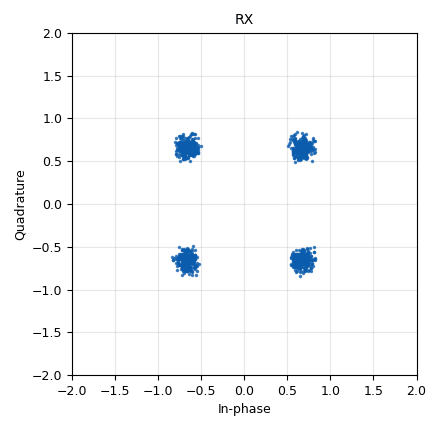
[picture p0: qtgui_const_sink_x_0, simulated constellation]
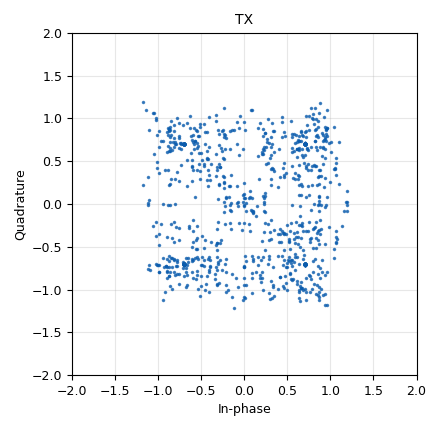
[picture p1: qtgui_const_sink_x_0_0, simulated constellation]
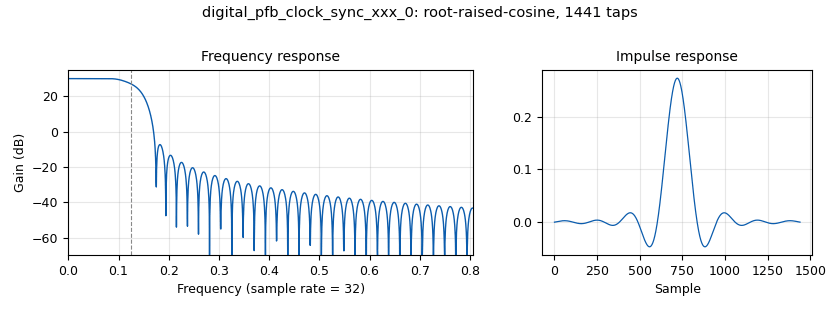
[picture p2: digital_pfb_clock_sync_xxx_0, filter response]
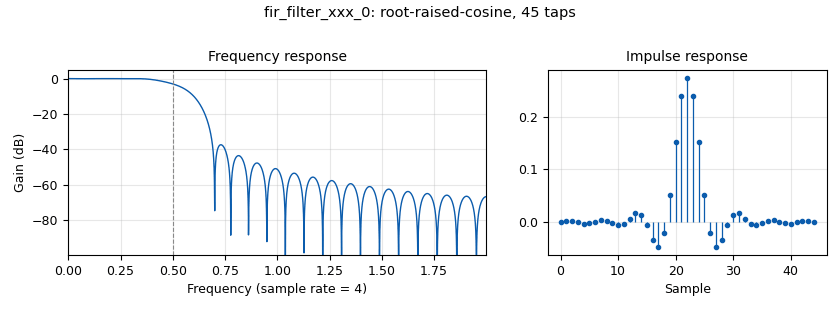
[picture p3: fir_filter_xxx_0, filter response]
<?xml version='1.0' encoding='utf-8'?>
<?grc format='1' created='3.7.11'?>
<flow_graph>
<block>
<key>options</key>
<param><key>id</key><value>packet_coder_test</value></param>
<param><key>generate_options</key><value>qt_gui</value></param>
</block>
<block>
<key>variable_constellation</key>
<param><key>id</key><value>BPSK</value></param>
<param><key>const_points</key><value>[-1, 1]</value></param>
<param><key>type</key><value>qpsk</value></param>
<param><key>precision</key><value>8</value></param>
<param><key>sym_map</key><value>[0, 1]</value></param>
</block>
<block>
<key>variable_constellation</key>
<param><key>id</key><value>BPSK</value></param>
<param><key>const_points</key><value>[-1, 1]</value></param>
<param><key>type</key><value>bpsk</value></param>
<param><key>_enabled</key><value>0</value></param>
<param><key>precision</key><value>8</value></param>
<param><key>sym_map</key><value>[0, 1]</value></param>
</block>
<block>
<key>variable_qtgui_range</key>
<param><key>id</key><value>delay</value></param>
<param><key>value</key><value>0</value></param>
<param><key>gui_hint</key><value>0,1,1,1</value></param>
<param><key>orient</key><value>Qt.Horizontal</value></param>
<param><key>start</key><value>0</value></param>
<param><key>step</key><value>1</value></param>
<param><key>stop</key><value>200</value></param>
</block>
<block>
<key>variable</key>
<param><key>id</key><value>excess_bw</value></param>
<param><key>value</key><value>0.35</value></param>
</block>
<block>
<key>variable</key>
<param><key>id</key><value>nfilts</value></param>
<param><key>value</key><value>32</value></param>
</block>
<block>
<key>variable</key>
<param><key>id</key><value>phase_bw</value></param>
<param><key>value</key><value>0.0628</value></param>
</block>
<block>
<key>variable</key>
<param><key>id</key><value>rrc_taps</value></param>
<param><key>value</key><value>firdes.root_raised_cosine(nfilts, nfilts, 1.0/float(sps), 0.35, 45*nfilts)</value></param>
</block>
<block>
<key>variable</key>
<param><key>id</key><value>rrc_taps_0</value></param>
<param><key>value</key><value>firdes.root_raised_cosine(1, sps, 1, excess_bw, 45)</value></param>
</block>
<block>
<key>variable</key>
<param><key>id</key><value>samp_rate</value></param>
<param><key>value</key><value>32000</value></param>
</block>
<block>
<key>variable</key>
<param><key>id</key><value>samp_rate_0</value></param>
<param><key>value</key><value>32E3</value></param>
</block>
<block>
<key>variable</key>
<param><key>id</key><value>sps</value></param>
<param><key>value</key><value>4</value></param>
</block>
<block>
<key>variable_qtgui_range</key>
<param><key>id</key><value>timing_loop_bw</value></param>
<param><key>value</key><value>6.28/100.0</value></param>
<param><key>gui_hint</key><value>0,0,1,1</value></param>
<param><key>label</key><value>Time: BW</value></param>
<param><key>orient</key><value>Qt.Horizontal</value></param>
<param><key>start</key><value>0.0</value></param>
<param><key>step</key><value>0.01</value></param>
<param><key>stop</key><value>0.2</value></param>
<param><key>widget</key><value>slider</value></param>
</block>
<block>
<key>analog_random_source_x</key>
<param><key>id</key><value>analog_random_source_x_0</value></param>
<param><key>max</key><value>256</value></param>
<param><key>min</key><value>0</value></param>
<param><key>num_samps</key><value>1000</value></param>
<param><key>type</key><value>byte</value></param>
<param><key>repeat</key><value>True</value></param>
</block>
<block>
<key>blks2_packet_decoder</key>
<param><key>id</key><value>blks2_packet_decoder_0</value></param>
<param><key>access_code</key><value></value></param>
<param><key>_enabled</key><value>0</value></param>
<param><key>type</key><value>byte</value></param>
<param><key>threshold</key><value>-1</value></param>
</block>
<block>
<key>blks2_packet_encoder</key>
<param><key>id</key><value>blks2_packet_encoder_0</value></param>
<param><key>access_code</key><value></value></param>
<param><key>bits_per_symbol</key><value>2</value></param>
<param><key>_enabled</key><value>0</value></param>
<param><key>type</key><value>byte</value></param>
<param><key>pad_for_usrp</key><value>False</value></param>
<param><key>payload_length</key><value>4</value></param>
<param><key>preamble</key><value></value></param>
<param><key>samples_per_symbol</key><value>1</value></param>
</block>
<block>
<key>blocks_char_to_float</key>
<param><key>id</key><value>blocks_char_to_float_0_0</value></param>
<param><key>scale</key><value>1</value></param>
</block>
<block>
<key>blocks_char_to_float</key>
<param><key>id</key><value>blocks_char_to_float_0_0_0</value></param>
<param><key>scale</key><value>1</value></param>
</block>
<block>
<key>blocks_delay</key>
<param><key>id</key><value>blocks_delay_0</value></param>
<param><key>delay</key><value>int(delay)</value></param>
<param><key>type</key><value>float</value></param>
</block>
<block>
<key>blocks_packed_to_unpacked_xx</key>
<param><key>id</key><value>blocks_packed_to_unpacked_xx_0</value></param>
<param><key>bits_per_chunk</key><value>1</value></param>
<param><key>_enabled</key><value>0</value></param>
<param><key>endianness</key><value>gr.GR_MSB_FIRST</value></param>
<param><key>type</key><value>byte</value></param>
</block>
<block>
<key>blocks_sub_xx</key>
<param><key>id</key><value>blocks_sub_xx_0</value></param>
<param><key>type</key><value>float</value></param>
</block>
<block>
<key>blocks_throttle</key>
<param><key>id</key><value>blocks_throttle_1</value></param>
<param><key>samples_per_second</key><value>samp_rate</value></param>
<param><key>type</key><value>complex</value></param>
</block>
<block>
<key>blocks_unpack_k_bits_bb</key>
<param><key>id</key><value>blocks_unpack_k_bits_bb_0</value></param>
<param><key>k</key><value>2</value></param>
</block>
<block>
<key>blocks_unpack_k_bits_bb</key>
<param><key>id</key><value>blocks_unpack_k_bits_bb_0_0</value></param>
<param><key>k</key><value>8</value></param>
</block>
<block>
<key>digital_constellation_modulator</key>
<param><key>id</key><value>digital_constellation_modulator_0</value></param>
<param><key>constellation</key><value>BPSK</value></param>
<param><key>differential</key><value>True</value></param>
<param><key>excess_bw</key><value>0.35</value></param>
<param><key>samples_per_symbol</key><value>sps</value></param>
</block>
<block>
<key>digital_diff_decoder_bb</key>
<param><key>id</key><value>digital_diff_decoder_bb_0</value></param>
<param><key>modulus</key><value>4</value></param>
</block>
<block>
<key>digital_map_bb</key>
<param><key>id</key><value>digital_map_bb_0</value></param>
<param><key>map</key><value>[0,3,2,1]</value></param>
</block>
<block>
<key>digital_pfb_clock_sync_xxx</key>
<param><key>id</key><value>digital_pfb_clock_sync_xxx_0</value></param>
<param><key>filter_size</key><value>nfilts</value></param>
<param><key>init_phase</key><value>nfilts/2</value></param>
<param><key>loop_bw</key><value>timing_loop_bw</value></param>
<param><key>max_dev</key><value>1.5</value></param>
<param><key>osps</key><value>1</value></param>
<param><key>sps</key><value>sps</value></param>
<param><key>taps</key><value>rrc_taps</value></param>
<param><key>type</key><value>ccf</value></param>
</block>
<block>
<key>fir_filter_xxx</key>
<param><key>id</key><value>fir_filter_xxx_0</value></param>
<param><key>decim</key><value>1</value></param>
<param><key>taps</key><value>rrc_taps_0</value></param>
<param><key>type</key><value>ccc</value></param>
</block>
<block>
<key>myblocks_qpsk_demod_v2</key>
<param><key>id</key><value>myblocks_qpsk_demod_v2_0</value></param>
<param><key>gray_code</key><value>0</value></param>
</block>
<block>
<key>qtgui_const_sink_x</key>
<param><key>id</key><value>qtgui_const_sink_x_0</value></param>
<param><key>gui_hint</key><value>1,1,1,1</value></param>
<param><key>name</key><value>"RX"</value></param>
<param><key>size</key><value>1024</value></param>
<param><key>type</key><value>complex</value></param>
</block>
<block>
<key>qtgui_const_sink_x</key>
<param><key>id</key><value>qtgui_const_sink_x_0_0</value></param>
<param><key>gui_hint</key><value>1,0,1,1</value></param>
<param><key>name</key><value>"TX"</value></param>
<param><key>size</key><value>1024</value></param>
<param><key>type</key><value>complex</value></param>
</block>
<block>
<key>qtgui_time_sink_x</key>
<param><key>id</key><value>qtgui_time_sink_x_0</value></param>
<param><key>gui_hint</key><value>2,0,1,2</value></param>
<param><key>color1</key><value>"blue"</value></param>
<param><key>label1</key><value></value></param>
<param><key>size</key><value>1024</value></param>
<param><key>srate</key><value>samp_rate</value></param>
<param><key>type</key><value>float</value></param>
</block>
<block>
<key>qtgui_time_sink_x</key>
<param><key>id</key><value>qtgui_time_sink_x_0_0</value></param>
<param><key>gui_hint</key><value>3,0,1,2</value></param>
<param><key>color1</key><value>"blue"</value></param>
<param><key>label1</key><value>Rx Bits</value></param>
<param><key>color2</key><value>"red"</value></param>
<param><key>label2</key><value>Tx Bits</value></param>
<param><key>name</key><value>Output Stream</value></param>
<param><key>nconnections</key><value>2</value></param>
<param><key>size</key><value>500</value></param>
<param><key>srate</key><value>samp_rate</value></param>
<param><key>type</key><value>float</value></param>
<param><key>ymax</key><value>2</value></param>
</block>
<connection><source_block_id>analog_random_source_x_0</source_block_id><sink_block_id>blks2_packet_encoder_0</sink_block_id><source_key>0</source_key><sink_key>0</sink_key></connection>
<connection><source_block_id>analog_random_source_x_0</source_block_id><sink_block_id>blocks_unpack_k_bits_bb_0_0</sink_block_id><source_key>0</source_key><sink_key>0</sink_key></connection>
<connection><source_block_id>analog_random_source_x_0</source_block_id><sink_block_id>digital_constellation_modulator_0</sink_block_id><source_key>0</source_key><sink_key>0</sink_key></connection>
<connection><source_block_id>blks2_packet_decoder_0</source_block_id><sink_block_id>digital_map_bb_0</sink_block_id><source_key>0</source_key><sink_key>0</sink_key></connection>
<connection><source_block_id>blks2_packet_encoder_0</source_block_id><sink_block_id>digital_constellation_modulator_0</sink_block_id><source_key>0</source_key><sink_key>0</sink_key></connection>
<connection><source_block_id>blocks_char_to_float_0_0</source_block_id><sink_block_id>blocks_sub_xx_0</sink_block_id><source_key>0</source_key><sink_key>1</sink_key></connection>
<connection><source_block_id>blocks_char_to_float_0_0</source_block_id><sink_block_id>qtgui_time_sink_x_0_0</sink_block_id><source_key>0</source_key><sink_key>0</sink_key></connection>
<connection><source_block_id>blocks_char_to_float_0_0_0</source_block_id><sink_block_id>blocks_delay_0</sink_block_id><source_key>0</source_key><sink_key>0</sink_key></connection>
<connection><source_block_id>blocks_delay_0</source_block_id><sink_block_id>blocks_sub_xx_0</sink_block_id><source_key>0</source_key><sink_key>0</sink_key></connection>
<connection><source_block_id>blocks_delay_0</source_block_id><sink_block_id>qtgui_time_sink_x_0_0</sink_block_id><source_key>0</source_key><sink_key>1</sink_key></connection>
<connection><source_block_id>blocks_packed_to_unpacked_xx_0</source_block_id><sink_block_id>blks2_packet_decoder_0</sink_block_id><source_key>0</source_key><sink_key>0</sink_key></connection>
<connection><source_block_id>blocks_packed_to_unpacked_xx_0</source_block_id><sink_block_id>digital_map_bb_0</sink_block_id><source_key>0</source_key><sink_key>0</sink_key></connection>
<connection><source_block_id>blocks_sub_xx_0</source_block_id><sink_block_id>qtgui_time_sink_x_0</sink_block_id><source_key>0</source_key><sink_key>0</sink_key></connection>
<connection><source_block_id>blocks_throttle_1</source_block_id><sink_block_id>fir_filter_xxx_0</sink_block_id><source_key>0</source_key><sink_key>0</sink_key></connection>
<connection><source_block_id>blocks_unpack_k_bits_bb_0</source_block_id><sink_block_id>blocks_char_to_float_0_0</sink_block_id><source_key>0</source_key><sink_key>0</sink_key></connection>
<connection><source_block_id>blocks_unpack_k_bits_bb_0_0</source_block_id><sink_block_id>blocks_char_to_float_0_0_0</sink_block_id><source_key>0</source_key><sink_key>0</sink_key></connection>
<connection><source_block_id>digital_constellation_modulator_0</source_block_id><sink_block_id>blocks_throttle_1</sink_block_id><source_key>0</source_key><sink_key>0</sink_key></connection>
<connection><source_block_id>digital_diff_decoder_bb_0</source_block_id><sink_block_id>digital_map_bb_0</sink_block_id><source_key>0</source_key><sink_key>0</sink_key></connection>
<connection><source_block_id>digital_map_bb_0</source_block_id><sink_block_id>blocks_unpack_k_bits_bb_0</sink_block_id><source_key>0</source_key><sink_key>0</sink_key></connection>
<connection><source_block_id>digital_pfb_clock_sync_xxx_0</source_block_id><sink_block_id>myblocks_qpsk_demod_v2_0</sink_block_id><source_key>0</source_key><sink_key>0</sink_key></connection>
<connection><source_block_id>digital_pfb_clock_sync_xxx_0</source_block_id><sink_block_id>qtgui_const_sink_x_0</sink_block_id><source_key>0</source_key><sink_key>0</sink_key></connection>
<connection><source_block_id>fir_filter_xxx_0</source_block_id><sink_block_id>digital_pfb_clock_sync_xxx_0</sink_block_id><source_key>0</source_key><sink_key>0</sink_key></connection>
<connection><source_block_id>fir_filter_xxx_0</source_block_id><sink_block_id>qtgui_const_sink_x_0_0</sink_block_id><source_key>0</source_key><sink_key>0</sink_key></connection>
<connection><source_block_id>myblocks_qpsk_demod_v2_0</source_block_id><sink_block_id>blocks_packed_to_unpacked_xx_0</sink_block_id><source_key>0</source_key><sink_key>0</sink_key></connection>
<connection><source_block_id>myblocks_qpsk_demod_v2_0</source_block_id><sink_block_id>digital_diff_decoder_bb_0</sink_block_id><source_key>0</source_key><sink_key>0</sink_key></connection>
</flow_graph>
